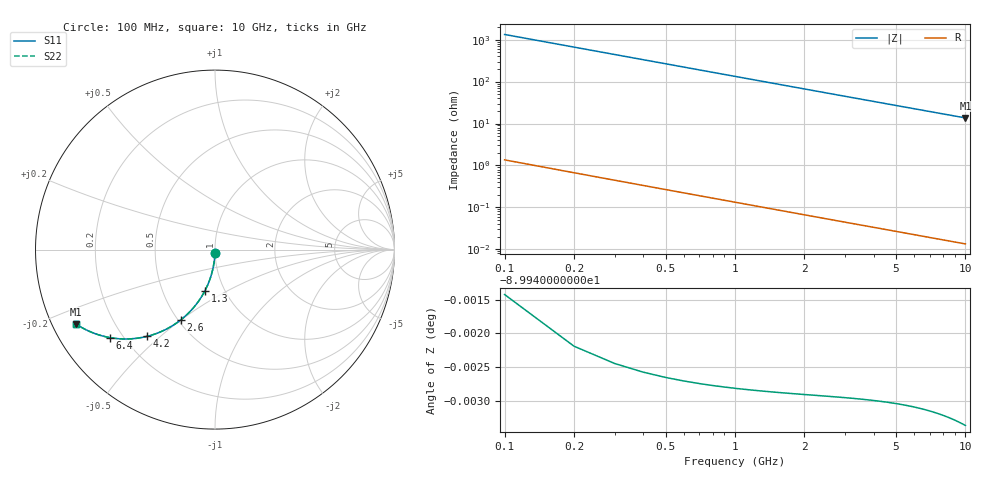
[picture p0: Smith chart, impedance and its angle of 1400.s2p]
# Hz S RI R 50.00
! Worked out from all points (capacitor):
!   100 points, 100 MHz to 10 GHz, reference 50 ohm
!   read as one part in shunt: C = 1.2 pF near 100 MHz
!   lowest |Z| = 13.6 ohm at 10 GHz (marker M1)
!   S11 on the Smith chart (normalised r, x): 100 MHz: 1.00, -0.04; 1.3 GHz: 0.81, -0.39; 2.6 GHz: 0.51, -0.50; 4.2 GHz: 0.29, -0.45; 6.4 GHz: 0.15, -0.36; 10 GHz: 0.07, -0.25
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1e8  -0.000368 -0.0188  0.9996 -0.0188  0.9996 -0.0188  -0.000368 -0.0188
2e8  -0.00145 -0.0375  0.9985 -0.0376  0.9985 -0.0376  -0.00145 -0.0375
3e8  -0.00322 -0.0561  0.9968 -0.0563  0.9968 -0.0563  -0.00322 -0.0561
4e8  -0.00569 -0.0747  0.9943 -0.0749  0.9943 -0.0749  -0.00569 -0.0747
5e8  -0.00884 -0.093  0.9911 -0.0933  0.9911 -0.0933  -0.00884 -0.093
6e8  -0.0127 -0.1112  0.9873 -0.1115  0.9873 -0.1115  -0.0127 -0.1112
7e8  -0.0171 -0.1291  0.9829 -0.1294  0.9829 -0.1294  -0.0171 -0.1291
8e8  -0.0222 -0.1467  0.9778 -0.1471  0.9778 -0.1471  -0.0222 -0.1467
1e9  -0.0342 -0.181  0.9658 -0.1816  0.9658 -0.1816  -0.0342 -0.181
1.3e9  -0.0563 -0.2297  0.9437 -0.2304  0.9437 -0.2304  -0.0563 -0.2297
1.5e9  -0.0735 -0.2601  0.9265 -0.2609  0.9265 -0.2609  -0.0735 -0.2601
1.8e9  -0.1023 -0.3021  0.8977 -0.3031  0.8977 -0.3031  -0.1023 -0.3021
2.2e9  -0.1451 -0.3511  0.8549 -0.3523  0.8549 -0.3523  -0.1451 -0.3511
2.6e9  -0.1912 -0.392  0.8088 -0.3935  0.8088 -0.3935  -0.1912 -0.392
3.4e9  -0.2869 -0.4508  0.7131 -0.4528  0.7131 -0.4528  -0.2869 -0.4508
4.2e9  -0.3794 -0.4835  0.6206 -0.4859  0.6206 -0.4859  -0.3794 -0.4835
5.1e9  -0.473 -0.4973  0.5269 -0.5002  0.5269 -0.5002  -0.473 -0.4973
6.4e9  -0.5845 -0.4904  0.4154 -0.4942  0.4154 -0.4942  -0.5845 -0.4904
6.7e9  -0.6064 -0.4861  0.3936 -0.49  0.3936 -0.49  -0.6064 -0.4861
7.5e9  -0.6583 -0.4716  0.3417 -0.476  0.3417 -0.476  -0.6583 -0.4716
8.4e9  -0.7068 -0.4523  0.2931 -0.4572  0.2931 -0.4572  -0.7068 -0.4523
1e10  -0.7731 -0.4154  0.2269 -0.4212  0.2269 -0.4212  -0.7731 -0.4154
